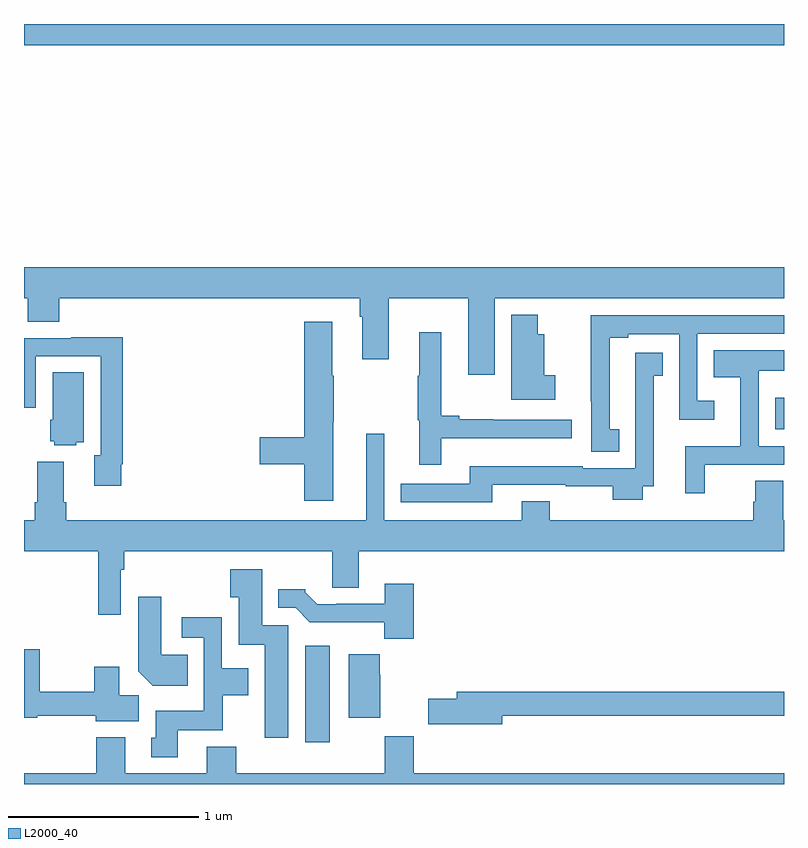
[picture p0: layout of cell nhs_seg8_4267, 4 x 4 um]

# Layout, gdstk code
import gdstk
lib = gdstk.Library(unit=1e-6, precision=1e-09)
def R(c, l, rs):  # rectangles x0, y0, x1, y1
    for r in rs: c.add(gdstk.rectangle(r[:2], r[2:], *l))
def P(c, l, *ps):  # polygons
    for p in ps: c.add(gdstk.Polygon(p, *l))
L2000_40 = (2000, 40)

nhs_seg8_4267 = lib.new_cell('nhs_seg8_4267')
R(nhs_seg8_4267, L2000_40, [(372.479,1158.12,372.61,1158.628), (374.953,1159.767,375,1159.933), (371,1161.788,375,1161.9)])
P(nhs_seg8_4267, L2000_40, [(373.477,1160.456),(375,1160.456),(375,1160.62),(371,1160.62),(371,1160.456),(371.021,1160.456),(371.021,1160.332),(371.186,1160.332),(371.186,1160.456),(372.767,1160.456),(372.767,1160.36),(372.779,1160.36),(372.779,1160.136),(372.919,1160.136),(372.919,1160.456),(373.337,1160.456),(373.337,1160.055),(373.477,1160.055)],
  [(373.795,1160.052),(373.738,1160.052),(373.738,1160.266),(373.705,1160.266),(373.705,1160.371),(373.565,1160.371),(373.565,1159.922),(373.795,1159.922)],
  [(374.132,1159.767),(374.083,1159.767),(374.083,1160.25),(374.179,1160.25),(374.179,1160.267),(374.448,1160.267),(374.448,1159.817),(374.632,1159.817),(374.632,1159.918),(374.544,1159.918),(374.544,1160.271),(375,1160.271),(375,1160.367),(374.441,1160.367),(374.441,1160.368),(373.984,1160.368),(373.984,1159.915),(373.986,1159.915),(373.986,1159.648),(374.132,1159.648)],
  [(372.628,1159.807),(372.63,1159.807),(372.63,1160.048),(372.622,1160.048),(372.622,1160.332),(372.476,1160.332),(372.476,1159.724),(372.24,1159.724),(372.24,1159.582),(372.476,1159.582),(372.476,1159.392),(372.628,1159.392)],
  [(373.195,1159.721),(373.882,1159.721),(373.882,1159.818),(373.469,1159.818),(373.469,1159.821),(373.291,1159.821),(373.291,1159.838),(373.195,1159.838),(373.195,1160.278),(373.079,1160.278),(373.079,1160.048),(373.072,1160.048),(373.072,1159.815),(373.079,1159.815),(373.079,1159.581),(373.195,1159.581)],
  [(371.512,1159.582),(371.519,1159.582),(371.519,1160.251),(371.249,1160.251),(371.249,1160.247),(371,1160.247),(371,1159.881),(371.061,1159.881),(371.061,1160.151),(371.403,1160.151),(371.403,1159.631),(371.369,1159.631),(371.369,1159.47),(371.512,1159.47)],
  [(374.582,1159.581),(375,1159.581),(375,1159.677),(374.868,1159.677),(374.868,1160.075),(375,1160.075),(375,1160.182),(374.629,1160.182),(374.629,1160.042),(374.771,1160.042),(374.771,1159.678),(374.48,1159.678),(374.48,1159.431),(374.582,1159.431)],
  [(373.465,1159.476),(373.851,1159.476),(373.851,1159.466),(374.098,1159.466),(374.098,1159.397),(374.257,1159.397),(374.257,1159.467),(374.314,1159.467),(374.314,1160.049),(374.363,1160.049),(374.363,1160.17),(374.216,1160.17),(374.216,1159.846),(374.217,1159.846),(374.217,1159.563),(373.941,1159.563),(373.941,1159.573),(373.346,1159.573),(373.346,1159.479),(372.982,1159.479),(372.982,1159.383),(373.465,1159.383)],
  [(371.274,1159.7),(371.314,1159.7),(371.314,1160.066),(371.15,1160.066),(371.15,1159.818),(371.138,1159.818),(371.138,1159.704),(371.16,1159.704),(371.16,1159.682),(371.274,1159.682)],
  [(371.508,1159.028),(371.528,1159.028),(371.528,1159.124),(372.623,1159.124),(372.623,1158.934),(372.763,1158.934),(372.763,1159.124),(375,1159.124),(375,1159.288),(374.997,1159.288),(374.997,1159.496),(374.849,1159.496),(374.849,1159.386),(374.837,1159.386),(374.837,1159.288),(373.767,1159.288),(373.767,1159.387),(373.619,1159.387),(373.619,1159.288),(372.897,1159.288),(372.897,1159.744),(372.8,1159.744),(372.8,1159.288),(371.222,1159.288),(371.222,1159.384),(371.209,1159.384),(371.209,1159.597),(371.069,1159.597),(371.069,1159.384),(371.057,1159.384),(371.057,1159.288),(371,1159.288),(371,1159.124),(371.392,1159.124),(371.392,1158.792),(371.508,1158.792)],
  [(372.391,1158.735),(372.253,1158.735),(372.253,1159.03),(372.085,1159.03),(372.085,1158.883),(372.131,1158.883),(372.131,1158.632),(372.266,1158.632),(372.266,1158.144),(372.391,1158.144)],
  [(373.052,1158.955),(372.899,1158.955),(372.899,1158.849),(372.643,1158.849),(372.643,1158.846),(372.544,1158.846),(372.48,1158.91),(372.48,1158.925),(372.338,1158.925),(372.338,1158.828),(372.429,1158.828),(372.505,1158.752),(372.897,1158.752),(372.897,1158.665),(373.052,1158.665)],
  [(371.861,1158.58),(371.722,1158.58),(371.722,1158.886),(371.6,1158.886),(371.6,1158.494),(371.678,1158.416),(371.861,1158.416)],
  [(371.809,1158.182),(372.045,1158.182),(372.045,1158.368),(372.181,1158.368),(372.181,1158.508),(372.042,1158.508),(372.042,1158.778),(371.829,1158.778),(371.829,1158.669),(371.946,1158.669),(371.946,1158.286),(371.693,1158.286),(371.693,1158.144),(371.669,1158.144),(371.669,1158.042),(371.809,1158.042)],
  [(371.605,1158.368),(371.5,1158.368),(371.5,1158.517),(371.371,1158.517),(371.371,1158.386),(371.082,1158.386),(371.082,1158.61),(371,1158.61),(371,1158.25),(371.07,1158.25),(371.07,1158.258),(371.378,1158.258),(371.378,1158.23),(371.605,1158.23)],
  [(372.874,1158.476),(372.872,1158.476),(372.872,1158.583),(372.71,1158.583),(372.71,1158.249),(372.874,1158.249)],
  [(373.516,1158.258),(375,1158.258),(375,1158.386),(373.277,1158.386),(373.277,1158.35),(373.128,1158.35),(373.128,1158.215),(373.516,1158.215)],
  [(375,1157.956),(373.052,1157.956),(373.052,1158.151),(372.899,1158.151),(372.899,1157.956),(372.116,1157.956),(372.116,1158.097),(371.963,1158.097),(371.963,1157.956),(371.533,1157.956),(371.533,1158.145),(371.381,1158.145),(371.381,1157.956),(371,1157.956),(371,1157.9),(375,1157.9)])

lib.write_gds('nhs_seg8_4267.gds')
